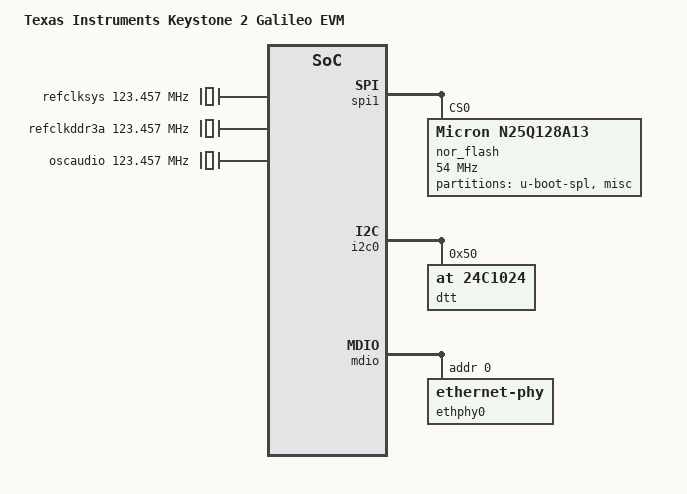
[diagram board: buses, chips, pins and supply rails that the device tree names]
/*
 * Copyright 2014 Texas Instruments, Inc.
 *
 * Keystone 2 Galileo EVM device tree
 *
 * This program is free software; you can redistribute it and/or modify
 * it under the terms of the GNU General Public License version 2 as
 * published by the Free Software Foundation.
 */
/dts-v1/;

#include "k2g.dtsi"

/ {
	compatible =  "ti,k2g-evm","ti,keystone";
	model = "Texas Instruments Keystone 2 Galileo EVM";

	aliases {
		serial0	= &uart0;
/*		gpio0   = &gpio0; */
	};

	soc {
		clocks {
			refclksys: refclksys {
				#clock-cells = <0>;
				compatible = "fixed-clock";
				clock-frequency = <123456789>;
				clock-output-names = "refclk-sys";
			};

			refclkddr3a: refclkddr3a {
				#clock-cells = <0>;
				compatible = "fixed-clock";
				clock-frequency = <123456789>;
				clock-output-names = "refclk-ddr3a";
			};

			oscaudio: oscaudio {
				#clock-cells = <0>;
				compatible = "fixed-clock";
				clock-frequency = <123456789>;
					clock-output-names = "osc-audio";
			};
		};
	};
};

&spi1 {
	nor_flash: n25q128a13@0 {
		#address-cells = <1>;
		#size-cells = <1>;
		compatible = "Micron,n25q128a13";
		spi-max-frequency = <54000000>;
		m25p,fast-read;
		reg = <0>;

		partition@0 {
			label = "u-boot-spl";
			reg = <0x0 0x80000>;
			read-only;
		};

		partition@1 {
			label = "misc";
			reg = <0x80000 0xf80000>;
		};
	};
};

&i2c0 {
	dtt@50 {
		compatible = "at,24c1024";
		reg = <0x50>;
	};
};

&mdio {
	status = "okay";
	ethphy0: ethernet-phy@0 {
		reg = <0>;
		phy-mode = "rgmii-id";
		/* TODO. Check if anything needed from
		 * Documentation/devicetree/bindings/net/micrel-ksz90x1.txt
		 */
	};
};
